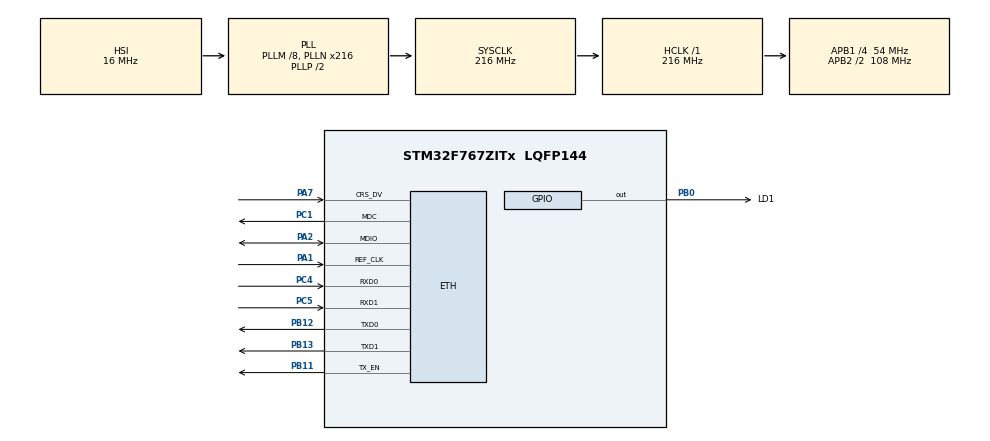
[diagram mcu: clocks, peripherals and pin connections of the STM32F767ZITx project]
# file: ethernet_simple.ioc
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ETH.MediaInterface=HAL_ETH_RMII_MODE
FREERTOS.Tasks01=defaultTask,0,128,StartDefaultTask,Default,NULL,Dynamic,NULL,NULL
FREERTOS.configUSE_NEWLIB_REENTRANT=1
LWIP.BSP.number=1
LWIP.GATEWAY_ADDRESS=192.168.001.001
LWIP.IP_ADDRESS=192.168.001.015
LWIP.LWIP_DHCP=0
LWIP.NETMASK_ADDRESS=255.255.255.000
LWIP.Version=v2.1.2_Cube
LWIP0.BSP.STBoard=false
LWIP0.BSP.api=BSP_COMPONENT_DRIVER
LWIP0.BSP.component=LAN8742
LWIP0.BSP.instance=LAN8742
LWIP0.BSP.name=Driver_PHY
LWIP0.BSP.semaphore=S_LAN8742
LWIP0.BSP.solution=LAN8742
Mcu.Family=STM32F7
Mcu.Name=STM32F767ZITx
Mcu.Package=LQFP144
NVIC.ETH_IRQn=true\:5\:0\:false\:false\:true\:true\:false\:true\:true
NVIC.PriorityGroup=NVIC_PRIORITYGROUP_4
NVIC.TIM6_DAC_IRQn=true\:15\:0\:false\:false\:true\:false\:false\:true\:true
NVIC.TimeBase=TIM6_DAC_IRQn
NVIC.TimeBaseIP=TIM6
PA1.Mode=RMII
PA1.Signal=ETH_REF_CLK
PA13.Mode=Serial_Wire
PA13.Signal=SYS_JTMS-SWDIO
PA14.Mode=Serial_Wire
PA14.Signal=SYS_JTCK-SWCLK
PA2.Mode=RMII
PA2.Signal=ETH_MDIO
PA7.Mode=RMII
PA7.Signal=ETH_CRS_DV
PB0.GPIO_Label=LD1
PB0.Signal=GPIO_Output
PB11.Mode=RMII
PB11.Signal=ETH_TX_EN
PB12.Mode=RMII
PB12.Signal=ETH_TXD0
PB13.Mode=RMII
PB13.Signal=ETH_TXD1
PC1.Mode=RMII
PC1.Signal=ETH_MDC
PC4.Mode=RMII
PC4.Signal=ETH_RXD0
PC5.Mode=RMII
PC5.Signal=ETH_RXD1
PH0/OSC_IN.Mode=HSE-External-Oscillator
PH0/OSC_IN.Signal=RCC_OSC_IN
PH1/OSC_OUT.Mode=HSE-External-Oscillator
PH1/OSC_OUT.Signal=RCC_OSC_OUT
ProjectManager.HeapSize=0x200
ProjectManager.StackSize=0x400
ProjectManager.TargetToolchain=STM32CubeIDE
RCC.48MHZClocksFreq_Value=24000000
RCC.AHBFreq_Value=216000000
RCC.APB1CLKDivider=RCC_HCLK_DIV4
RCC.APB1Freq_Value=54000000
RCC.APB1TimFreq_Value=108000000
RCC.APB2CLKDivider=RCC_HCLK_DIV2
RCC.APB2Freq_Value=108000000
RCC.APB2TimFreq_Value=216000000
RCC.CortexFreq_Value=216000000
RCC.HCLKFreq_Value=216000000
RCC.HSE_VALUE=8000000
RCC.HSI_VALUE=16000000
RCC.LSE_VALUE=32768
RCC.PLLM=8
RCC.PLLMUL=RCC_PLL_MUL9
RCC.PLLN=216
RCC.PRESCALERUSB=RCC_USBCLKSOURCE_PLL_DIV1_5
RCC.SYSCLKFreq_VALUE=216000000
RCC.SYSCLKSource=RCC_SYSCLKSOURCE_PLLCLK
RCC.SYSCLKSourceVirtual=RCC_SYSCLKSOURCE_PLLCLK
RCC.USBFreq_Value=216000000
RCC.VCOOutputFreq_Value=432000000
VP_FREERTOS_VS_CMSIS_V1.Mode=CMSIS_V1
VP_LWIP_VS_Enabled.Mode=Enabled
VP_SYS_VS_tim6.Mode=TIM6
board=NUCLEO-F767ZI

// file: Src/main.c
/* USER CODE BEGIN Header */
/**
  ******************************************************************************
  * @file           : main.c
  * @brief          : Main program body
  ******************************************************************************
  * @attention
  *
  * Copyright (c) 2025 STMicroelectronics.
  * All rights reserved.
  *
  * This software is licensed under terms that can be found in the LICENSE file
  * in the root directory of this software component.
  * If no LICENSE file comes with this software, it is provided AS-IS.
  *
  ******************************************************************************
  */
/* USER CODE END Header */
#include "main.h"
#include "cmsis_os.h"
#include "lwip.h"

osThreadId defaultTaskHandle;
/* USER CODE BEGIN PV */
 // NOTE: REPLACE THIS IP WITH THE IP ADDRESS OF YOUR PC RUNNING THE PYTHON SERVER
 #define SERVER_IP       "192.168.1.10"
 #define SERVER_PORT     8080
 #define POST_PATH       "/update"

 // Example data to send (float sensor reading)
 float sensor_reading = 25.5f;

/* USER CODE END PV */

void SystemClock_Config(void);
static void MX_GPIO_Init(void);
void StartDefaultTask(void const * argument);

int main(void)
{

  /* MCU Configuration--------------------------------------------------------*/

  /* Reset of all peripherals, Initializes the Flash interface and the Systick. */
  HAL_Init();

  /* Configure the system clock */
  SystemClock_Config();

  /* Initialize all configured peripherals */
  MX_GPIO_Init();

  /* Create the thread(s) */
  /* definition and creation of defaultTask */
  osThreadDef(defaultTask, StartDefaultTask, osPriorityNormal, 0, 512);
  defaultTaskHandle = osThreadCreate(osThread(defaultTask), NULL);

  /* Start scheduler */
  osKernelStart();

  /* We should never get here as control is now taken by the scheduler */

  /* Infinite loop */
  while (1)
  {

    /* USER CODE BEGIN 3 */
     // Dummy sensor reading
  sensor_reading += 0.1f;
  if (sensor_reading > 35.0f) sensor_reading = 20.0f;
  send_http_post(sensor_reading);

  // Wait 2 seconds before sending the next message. Use osDelay for LwIP/FreeRTOS.
  osDelay(2000);

  /* USER CODE END 3 */
}
}

void SystemClock_Config(void)
{
  RCC_OscInitTypeDef RCC_OscInitStruct = {0};
  RCC_ClkInitTypeDef RCC_ClkInitStruct = {0};

  /** Configure the main internal regulator output voltage
  */
  __HAL_RCC_PWR_CLK_ENABLE();
  __HAL_PWR_VOLTAGESCALING_CONFIG(PWR_REGULATOR_VOLTAGE_SCALE1);

  /** Initializes the RCC Oscillators according to the specified parameters
  * in the RCC_OscInitTypeDef structure.
  */
  RCC_OscInitStruct.OscillatorType = RCC_OSCILLATORTYPE_HSI;
  RCC_OscInitStruct.HSIState = RCC_HSI_ON;
  RCC_OscInitStruct.HSICalibrationValue = RCC_HSICALIBRATION_DEFAULT;
  RCC_OscInitStruct.PLL.PLLState = RCC_PLL_ON;
  RCC_OscInitStruct.PLL.PLLSource = RCC_PLLSOURCE_HSI;
  RCC_OscInitStruct.PLL.PLLM = 8;
  RCC_OscInitStruct.PLL.PLLN = 216;
  RCC_OscInitStruct.PLL.PLLP = RCC_PLLP_DIV2;
  RCC_OscInitStruct.PLL.PLLQ = 2;
  RCC_OscInitStruct.PLL.PLLR = 2;
  if (HAL_RCC_OscConfig(&RCC_OscInitStruct) != HAL_OK)
  {
    Error_Handler();
  }

  /** Activate the Over-Drive mode
  */
  if (HAL_PWREx_EnableOverDrive() != HAL_OK)
  {
    Error_Handler();
  }

  /** Initializes the CPU, AHB and APB buses clocks
  */
  RCC_ClkInitStruct.ClockType = RCC_CLOCKTYPE_HCLK|RCC_CLOCKTYPE_SYSCLK
                              |RCC_CLOCKTYPE_PCLK1|RCC_CLOCKTYPE_PCLK2;
  RCC_ClkInitStruct.SYSCLKSource = RCC_SYSCLKSOURCE_PLLCLK;
  RCC_ClkInitStruct.AHBCLKDivider = RCC_SYSCLK_DIV1;
  RCC_ClkInitStruct.APB1CLKDivider = RCC_HCLK_DIV4;
  RCC_ClkInitStruct.APB2CLKDivider = RCC_HCLK_DIV2;

  if (HAL_RCC_ClockConfig(&RCC_ClkInitStruct, FLASH_LATENCY_7) != HAL_OK)
  {
    Error_Handler();
  }
}

static void MX_GPIO_Init(void)
{
  GPIO_InitTypeDef GPIO_InitStruct = {0};

  /* GPIO Ports Clock Enable */
  __HAL_RCC_GPIOH_CLK_ENABLE();
  __HAL_RCC_GPIOC_CLK_ENABLE();
  __HAL_RCC_GPIOA_CLK_ENABLE();
  __HAL_RCC_GPIOB_CLK_ENABLE();

  /*Configure GPIO pin Output Level */
  HAL_GPIO_WritePin(LD1_GPIO_Port, LD1_Pin, GPIO_PIN_RESET);

  /*Configure GPIO pin : LD1_Pin */
  GPIO_InitStruct.Pin = LD1_Pin;
  GPIO_InitStruct.Mode = GPIO_MODE_OUTPUT_PP;
  GPIO_InitStruct.Pull = GPIO_NOPULL;
  GPIO_InitStruct.Speed = GPIO_SPEED_FREQ_LOW;
  HAL_GPIO_Init(LD1_GPIO_Port, &GPIO_InitStruct);

}

/* USER CODE BEGIN 4 */
   /**
   * @brief Sends an HTTP POST request with a raw data payload.
   */
 void send_http_post(float value)
 {
     struct netconn *conn = NULL;
     ip_addr_t server_ip;
     err_t err;

     // Convert server IP string to lwIP ip_addr_t structure
     IP4_ADDR(&server_ip,
             SERVER_IP[0] - '0', SERVER_IP[2] - '0', SERVER_IP[4] - '0', SERVER_IP[6] - '0'); // Simplified parsing, assumes simple fixed IP format for demo

     // In a real application, use: ipaddr_aton(SERVER_IP, &server_ip);

     // 1. Format the raw data payload (the body of the request)
     char data_payload[32];
     int data_len = snprintf(data_payload, sizeof(data_payload), "%.2f", value);

     // 2. Construct the full HTTP POST request string
     char request_buffer[256];
     int request_len = snprintf(request_buffer, sizeof(request_buffer),
                               "POST %s HTTP/1.1\r\n"
                               "Host: %s:%d\r\n"
                               "User-Agent: STM32F767-Client\r\n"
                               "Content-Type: text/plain\r\n" // Matches the Python server expectation
                               "Content-Length: %d\r\n"
                               "Connection: close\r\n"
                               "\r\n"
                               "%s",
                               POST_PATH, SERVER_IP, SERVER_PORT, data_len, data_payload);

     // 3. Create a new connection handle (TCP socket)
     conn = netconn_new(NETCONN_TCP);
     if (conn != NULL)
     {
         // 4. Connect to the server
         err = netconn_connect(conn, &server_ip, SERVER_PORT);

         if (err == ERR_OK)
         {
             // 5. Send the entire request
             netconn_write(conn, request_buffer, request_len, NETCONN_COPY);

             // 6. Wait for response and read it (optional, but good practice)
             struct netbuf *inbuf;
             if (netconn_recv(conn, &inbuf) == ERR_OK)
             {
                 // Successfully received a response (e.g., "OK" from Python server)
                 HAL_GPIO_WritePin(LD1_GPIO_Port, LD1_Pin, GPIO_PIN_SET); // Turn LED ON for success
                 netbuf_delete(inbuf);
             }
         }
         else
         {
             // Connection failed
             HAL_GPIO_WritePin(LD1_GPIO_Port, LD1_Pin, GPIO_PIN_RESET); // Keep LED OFF for failure
         }

         // 7. Close and delete the connection handle
         netconn_close(conn);
         netconn_delete(conn);
     }
 }

/* USER CODE END 4 */

void StartDefaultTask(void const * argument)
{
  /* init code for LWIP */
  MX_LWIP_Init();
  for(;;)
  {
    osDelay(1);
  }
}

void HAL_TIM_PeriodElapsedCallback(TIM_HandleTypeDef *htim)
{
  if (htim->Instance == TIM6)
  {
    HAL_IncTick();
  }
}

void Error_Handler(void)
{
  __disable_irq();
  while (1)
  {
  }
}
